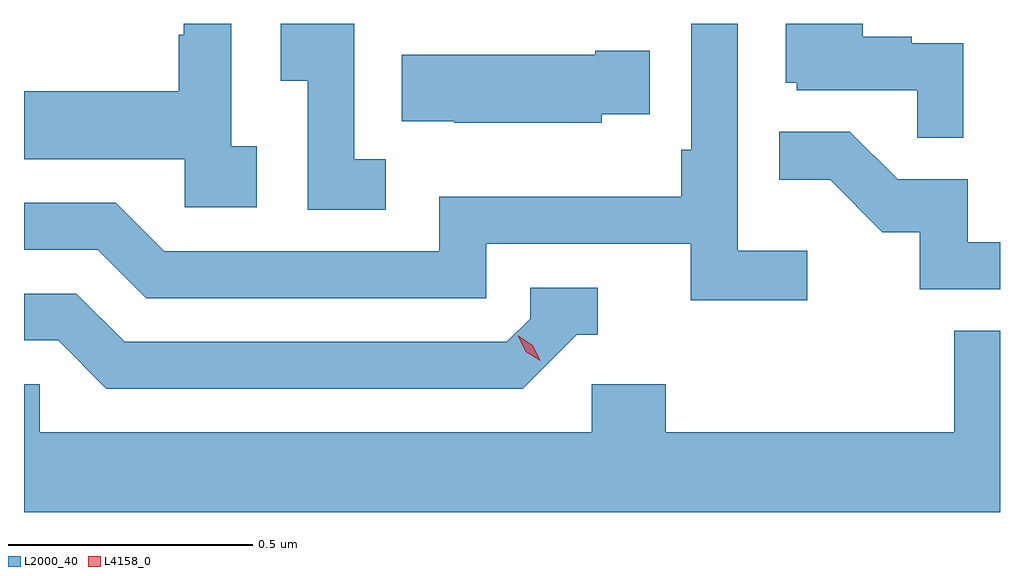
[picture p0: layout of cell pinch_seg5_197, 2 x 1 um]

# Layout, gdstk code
import gdstk
lib = gdstk.Library(unit=1e-6, precision=1e-09)
def P(c, l, *ps):  # polygons
    for p in ps: c.add(gdstk.Polygon(p, *l))
L2000_40 = (2000, 40)
L4158_0 = (4158, 0)

pinch_seg5_197 = lib.new_cell('pinch_seg5_197')
P(pinch_seg5_197, L2000_40, [(996.432,904.341),(996.326,904.341),(996.326,904.354),(996.226,904.354),(996.226,904.381),(996.068,904.381),(996.068,904.26),(996.09,904.26),(996.09,904.245),(996.337,904.245),(996.337,904.147),(996.432,904.147)],
  [(996.112,903.916),(995.97,903.916),(995.97,904.381),(995.874,904.381),(995.874,904.123),(995.854,904.123),(995.854,904.027),(995.358,904.027),(995.358,903.915),(994.794,903.915),(994.695,904.014),(994.507,904.014),(994.507,903.918),(994.658,903.918),(994.757,903.819),(995.454,903.819),(995.454,903.93),(995.873,903.93),(995.873,903.814),(996.112,903.814)],
  [(995.248,904.103),(995.184,904.103),(995.184,904.381),(995.033,904.381),(995.033,904.264),(995.088,904.264),(995.088,904),(995.248,904)],
  [(994.984,904.13),(994.932,904.13),(994.932,904.381),(994.834,904.381),(994.834,904.358),(994.824,904.358),(994.824,904.243),(994.507,904.243),(994.507,904.103),(994.836,904.103),(994.836,904.005),(994.984,904.005)],
  [(995.691,904.196),(995.789,904.196),(995.789,904.326),(995.678,904.326),(995.678,904.318),(995.281,904.318),(995.281,904.181),(995.389,904.181),(995.389,904.178),(995.691,904.178)],
  [(996.507,903.933),(996.441,903.933),(996.441,904.062),(996.297,904.062),(996.199,904.16),(996.055,904.16),(996.055,904.061),(996.159,904.061),(996.266,903.954),(996.343,903.954),(996.343,903.837),(996.507,903.837)],
  [(995.64,903.744),(995.683,903.744),(995.683,903.84),(995.544,903.84),(995.544,903.777),(995.496,903.729),(994.713,903.729),(994.614,903.828),(994.507,903.828),(994.507,903.732),(994.577,903.732),(994.676,903.633),(995.529,903.633)],
  [(996.507,903.752),(996.413,903.752),(996.413,903.544),(995.822,903.544),(995.822,903.642),(995.67,903.642),(995.67,903.544),(994.539,903.544),(994.539,903.642),(994.507,903.642),(994.507,903.38),(996.507,903.38)])
P(pinch_seg5_197, L4158_0, [(995.565,903.69),(995.535,903.709),(995.519,903.742),(995.519,903.742),(995.52,903.742),(995.55,903.722),(995.565,903.69),(995.565,903.69)])

lib.write_gds('pinch_seg5_197.gds')
